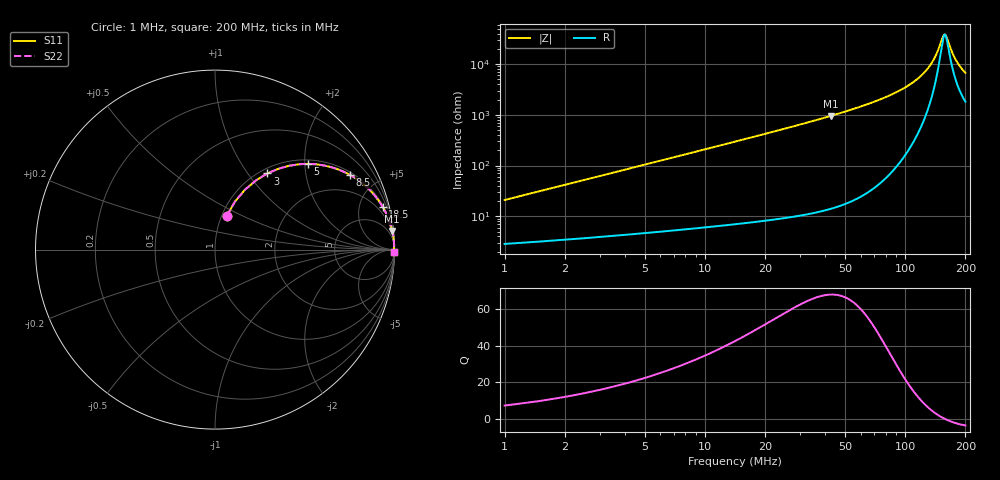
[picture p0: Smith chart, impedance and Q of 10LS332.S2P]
! Coilcraft 1008LS-332 Chip Inductor
! 5 August 2002
# MHZ S MA R 50
!Freq  MagS11  AngS11  MagS21  AngS21  MagS12  AngS12  MagS22  AngS22
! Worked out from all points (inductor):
!   399 points, 1 MHz to 200 MHz, reference 50 ohm
!   read as one part in series: L = 3.3 uH near 1.5 MHz
!   highest Q = 67.9 at 42.5 MHz (marker M1), where L = 3.56 uH
!   self-resonance near 158 MHz
!   S11 on the Smith chart (normalised r, x): 1 MHz: 1.06, +0.41; 3 MHz: 1.08, +1.24; 5 MHz: 1.09, +2.08; 8.5 MHz: 1.11, +3.54; 18.5 MHz: 1.16, +7.78; 200 MHz: open
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1  0.1995 70.8  0.9531 -11.4  0.9531 -11.4  0.1995 70.8
1.5  0.2901 67.4  0.928 -16.8  0.928 -16.8  0.2901 67.4
2  0.3734 63.4  0.8972 -21.8  0.8972 -21.8  0.3734 63.4
3  0.5148 55.5  0.8256 -30.9  0.8256 -30.9  0.5148 55.5
5  0.7048 42.7  0.6785 -44.8  0.6785 -44.8  0.7048 42.7
6.5  0.7896 35.7  0.5845 -52.1  0.5845 -52.1  0.7896 35.7
8.5  0.8588 29.0  0.4856 -59.1  0.4856 -59.1  0.8588 29.0
12.5  0.926 20.8  0.3549 -67.8  0.3549 -67.8  0.926 20.8
18.5  0.9638 14.3  0.2478 -74.5  0.2478 -74.5  0.9638 14.3
34.5  0.9893 7.6  0.1317 -81.6  0.1317 -81.6  0.9893 7.6
42.5  0.993 6.0  0.1045 -83.2  0.1045 -83.2  0.993 6.0
67.5  0.9972 3.3  0.0582 -85.6  0.0582 -85.6  0.9972 3.3
100.5  0.9983 1.6  0.02851 -85.7  0.02851 -85.7  0.9983 1.6
120  0.9982 1.0  0.01703 -83.4  0.01703 -83.4  0.9982 1.0
134  0.998 0.6  0.01026 -78.3  0.01026 -78.3  0.998 0.6
143  0.9978 0.3  0.006476 -69.8  0.006476 -69.8  0.9978 0.3
156.5  0.9974 0.0  0.002634 -13.6  0.002634 -13.6  0.9974 0.0
160  0.9973 -0.0  0.002757 15.0  0.002757 15.0  0.9973 -0.0
167  0.9971 -0.2  0.004378 48.8  0.004378 48.8  0.9971 -0.2
173.5  0.9969 -0.3  0.0064 60.9  0.0064 60.9  0.9969 -0.3
181  0.9966 -0.5  0.008825 67.4  0.008825 67.4  0.9966 -0.5
200  0.9959 -0.8  0.01481 73.5  0.01481 73.5  0.9959 -0.8
